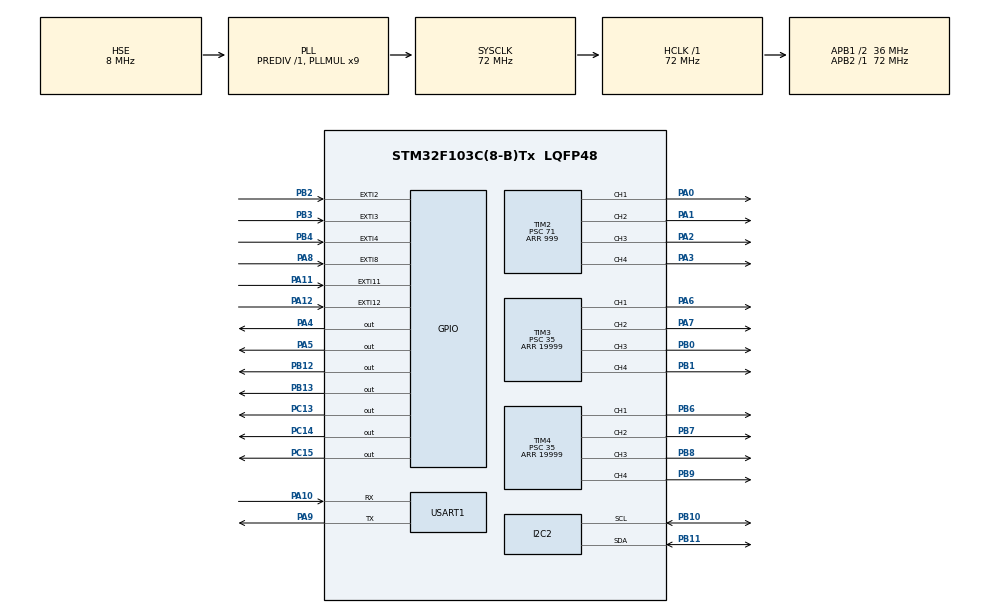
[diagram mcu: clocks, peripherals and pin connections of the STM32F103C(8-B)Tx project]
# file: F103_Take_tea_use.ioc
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Dma.Request0=USART1_TX
Dma.Request1=USART1_RX
Dma.USART1_RX.1.Direction=DMA_PERIPH_TO_MEMORY
Dma.USART1_RX.1.Instance=DMA1_Channel5
Dma.USART1_RX.1.MemDataAlignment=DMA_MDATAALIGN_BYTE
Dma.USART1_RX.1.MemInc=DMA_MINC_ENABLE
Dma.USART1_RX.1.Mode=DMA_NORMAL
Dma.USART1_RX.1.PeriphDataAlignment=DMA_PDATAALIGN_BYTE
Dma.USART1_RX.1.PeriphInc=DMA_PINC_DISABLE
Dma.USART1_RX.1.Priority=DMA_PRIORITY_LOW
Dma.USART1_TX.0.Direction=DMA_MEMORY_TO_PERIPH
Dma.USART1_TX.0.Instance=DMA1_Channel4
Dma.USART1_TX.0.MemDataAlignment=DMA_MDATAALIGN_BYTE
Dma.USART1_TX.0.MemInc=DMA_MINC_ENABLE
Dma.USART1_TX.0.Mode=DMA_NORMAL
Dma.USART1_TX.0.PeriphDataAlignment=DMA_PDATAALIGN_BYTE
Dma.USART1_TX.0.PeriphInc=DMA_PINC_DISABLE
Dma.USART1_TX.0.Priority=DMA_PRIORITY_LOW
Mcu.Family=STM32F1
Mcu.Name=STM32F103C(8-B)Tx
Mcu.Package=LQFP48
NVIC.DMA1_Channel4_IRQn=true\:5\:0\:true\:false\:true\:false\:true
NVIC.DMA1_Channel5_IRQn=true\:5\:0\:true\:false\:true\:false\:true
NVIC.EXTI15_10_IRQn=true\:0\:0\:false\:false\:true\:true\:true
NVIC.EXTI2_IRQn=true\:4\:0\:true\:false\:true\:true\:true
NVIC.EXTI3_IRQn=true\:4\:0\:true\:false\:true\:true\:true
NVIC.EXTI4_IRQn=true\:4\:0\:true\:false\:true\:true\:true
NVIC.EXTI9_5_IRQn=true\:4\:0\:true\:false\:true\:true\:true
NVIC.PriorityGroup=NVIC_PRIORITYGROUP_4
NVIC.TIM1_UP_IRQn=true\:5\:0\:true\:false\:true\:true\:true
NVIC.TIM2_IRQn=true\:4\:0\:true\:false\:true\:true\:true
NVIC.USART1_IRQn=true\:5\:0\:true\:false\:true\:true\:true
PA0-WKUP.Signal=S_TIM2_CH1_ETR
PA1.Signal=S_TIM2_CH2
PA10.Mode=Asynchronous
PA10.Signal=USART1_RX
PA11.GPIO_ModeDefaultEXTI=GPIO_MODE_IT_FALLING
PA11.GPIO_PuPd=GPIO_PULLUP
PA11.Signal=GPXTI11
PA12.GPIO_ModeDefaultEXTI=GPIO_MODE_IT_FALLING
PA12.GPIO_PuPd=GPIO_PULLUP
PA12.Signal=GPXTI12
PA13.Mode=Serial_Wire
PA13.Signal=SYS_JTMS-SWDIO
PA14.Mode=Serial_Wire
PA14.Signal=SYS_JTCK-SWCLK
PA2.Signal=S_TIM2_CH3
PA3.Signal=S_TIM2_CH4
PA4.Signal=GPIO_Output
PA5.Signal=GPIO_Output
PA6.Signal=S_TIM3_CH1
PA7.Signal=S_TIM3_CH2
PA8.GPIO_ModeDefaultEXTI=GPIO_MODE_IT_FALLING
PA8.GPIO_PuPd=GPIO_PULLUP
PA8.Signal=GPXTI8
PA9.Mode=Asynchronous
PA9.Signal=USART1_TX
PB0.Signal=S_TIM3_CH3
PB1.Signal=S_TIM3_CH4
PB10.Mode=I2C
PB10.Signal=I2C2_SCL
PB11.Mode=I2C
PB11.Signal=I2C2_SDA
PB12.Signal=GPIO_Output
PB13.Signal=GPIO_Output
PB2.GPIO_ModeDefaultEXTI=GPIO_MODE_IT_FALLING
PB2.GPIO_PuPd=GPIO_PULLUP
PB2.Signal=GPXTI2
PB3.GPIO_ModeDefaultEXTI=GPIO_MODE_IT_FALLING
PB3.GPIO_PuPd=GPIO_PULLUP
PB3.Signal=GPXTI3
PB4.GPIO_ModeDefaultEXTI=GPIO_MODE_IT_FALLING
PB4.GPIO_PuPd=GPIO_PULLUP
PB4.Signal=GPXTI4
PB6.Signal=S_TIM4_CH1
PB7.Signal=S_TIM4_CH2
PB8.Signal=S_TIM4_CH3
PB9.Signal=S_TIM4_CH4
PC13-TAMPER-RTC.Signal=GPIO_Output
PC14-OSC32_IN.Signal=GPIO_Output
PC15-OSC32_OUT.Signal=GPIO_Output
PD0-OSC_IN.Mode=HSE-External-Oscillator
PD0-OSC_IN.Signal=RCC_OSC_IN
PD1-OSC_OUT.Mode=HSE-External-Oscillator
PD1-OSC_OUT.Signal=RCC_OSC_OUT
ProjectManager.HeapSize=0x200
ProjectManager.StackSize=0x400
ProjectManager.TargetToolchain=Makefile
RCC.AHBFreq_Value=72000000
RCC.APB1CLKDivider=RCC_HCLK_DIV2
RCC.APB1Freq_Value=36000000
RCC.APB1TimFreq_Value=72000000
RCC.APB2Freq_Value=72000000
RCC.APB2TimFreq_Value=72000000
RCC.HCLKFreq_Value=72000000
RCC.PLLMUL=RCC_PLL_MUL9
RCC.PLLSourceVirtual=RCC_PLLSOURCE_HSE
RCC.SYSCLKFreq_VALUE=72000000
RCC.SYSCLKSource=RCC_SYSCLKSOURCE_PLLCLK
RCC.USBFreq_Value=72000000
SH.S_TIM2_CH1_ETR.0=TIM2_CH1,PWM Generation1 CH1
SH.S_TIM2_CH2.0=TIM2_CH2,PWM Generation2 CH2
SH.S_TIM2_CH3.0=TIM2_CH3,PWM Generation3 CH3
SH.S_TIM2_CH4.0=TIM2_CH4,PWM Generation4 CH4
SH.S_TIM3_CH1.0=TIM3_CH1,PWM Generation1 CH1
SH.S_TIM3_CH2.0=TIM3_CH2,PWM Generation2 CH2
SH.S_TIM3_CH3.0=TIM3_CH3,PWM Generation3 CH3
SH.S_TIM3_CH4.0=TIM3_CH4,PWM Generation4 CH4
SH.S_TIM4_CH1.0=TIM4_CH1,PWM Generation1 CH1
SH.S_TIM4_CH2.0=TIM4_CH2,PWM Generation2 CH2
SH.S_TIM4_CH3.0=TIM4_CH3,PWM Generation3 CH3
SH.S_TIM4_CH4.0=TIM4_CH4,PWM Generation4 CH4
TIM1.Period=999
TIM1.Prescaler=71
TIM2.Channel-PWM\ Generation1\ CH1=TIM_CHANNEL_1
TIM2.Channel-PWM\ Generation2\ CH2=TIM_CHANNEL_2
TIM2.Channel-PWM\ Generation3\ CH3=TIM_CHANNEL_3
TIM2.Channel-PWM\ Generation4\ CH4=TIM_CHANNEL_4
TIM2.Period=999
TIM2.Prescaler=71
TIM3.Channel-PWM\ Generation1\ CH1=TIM_CHANNEL_1
TIM3.Channel-PWM\ Generation2\ CH2=TIM_CHANNEL_2
TIM3.Channel-PWM\ Generation3\ CH3=TIM_CHANNEL_3
TIM3.Channel-PWM\ Generation4\ CH4=TIM_CHANNEL_4
TIM3.Period=19999
TIM3.Prescaler=35
TIM4.Channel-PWM\ Generation1\ CH1=TIM_CHANNEL_1
TIM4.Channel-PWM\ Generation2\ CH2=TIM_CHANNEL_2
TIM4.Channel-PWM\ Generation3\ CH3=TIM_CHANNEL_3
TIM4.Channel-PWM\ Generation4\ CH4=TIM_CHANNEL_4
TIM4.Period=19999
TIM4.Prescaler=35
USART1.VirtualMode=VM_ASYNC
VP_TIM1_VS_ClockSourceINT.Mode=Internal
board=custom

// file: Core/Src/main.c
/* USER CODE BEGIN Header */
/**
 ******************************************************************************
 * @file           : main.c
 * @brief          : Main program body
 ******************************************************************************
 * @attention
 *
 * <h2><center>&copy; Copyright (c) 2023 STMicroelectronics.
 * All rights reserved.</center></h2>
 *
 * This software component is licensed by ST under BSD 3-Clause license,
 * the "License"; You may not use this file except in compliance with the
 * License. You may obtain a copy of the License at:
 *                        opensource.org/licenses/BSD-3-Clause
 *
 ******************************************************************************
 */
/* USER CODE END Header */
#include "main.h"
#include "dma.h"
#include "i2c.h"
#include "tim.h"
#include "usart.h"
#include "gpio.h"

/* USER CODE BEGIN Includes */
#include <stdio.h>
#include "soft_use.h"
#include "doing.h"
#include "BJ_CTRL.h"
/* USER CODE END Includes */

/* USER CODE BEGIN PV */
extern BJ_status BJ_biubiu;
;
/* USER CODE END PV */

void SystemClock_Config(void);
/* USER CODE BEGIN PFP */
extern uint8_t usart1_date[12];
/* USER CODE END PFP */

/* USER CODE BEGIN 0 */
uint8_t do_sign = 0;
uint8_t x,y;
/* USER CODE END 0 */

int main(void)
{

  /* MCU Configuration--------------------------------------------------------*/

  /* Reset of all peripherals, Initializes the Flash interface and the Systick. */
  HAL_Init();

  /* Configure the system clock */
  SystemClock_Config();

  /* Initialize all configured peripherals */
  MX_GPIO_Init();
  MX_DMA_Init();
  MX_USART1_UART_Init();
  MX_I2C2_Init();
  MX_TIM1_Init();
  MX_TIM2_Init();
  MX_TIM3_Init();
  MX_TIM4_Init();
  /* USER CODE BEGIN 2 */
  HAL_TIM_PWM_Start_IT(&htim2, TIM_CHANNEL_1);
  HAL_TIM_PWM_Start_IT(&htim2, TIM_CHANNEL_2);
  HAL_TIM_Base_Start_IT(&htim1);
  HAL_UART_Receive_IT(&huart1, usart1_date, 1);
  HAL_TIM_PWM_Start(&htim3,TIM_CHANNEL_1);
  HAL_TIM_PWM_Start(&htim3,TIM_CHANNEL_2);
  HAL_TIM_PWM_Start(&htim3,TIM_CHANNEL_3);
  TIM3->CCR1=2400;
  TIM3->CCR2=2400;
  TIM3->CCR3=2400;
  /* USER CODE END 2 */

  /* Infinite loop */
  while (1)
  {

    /* USER CODE BEGIN 3 */
    switch (do_sign)
    {
    case 0:
      LED1(0);
      LED2(0);
      LED3(0);
      break;
    case 1:
      LED1(1);
      LED2(0);
      LED3(0);
      break;
    case 2:
      LED1(0);
      LED2(1);
      LED3(0);
      break;
    case 3:
      LED1(0);
      LED2(0);
      LED3(1);
      break;
    case 4:
      LED1(1);
      LED2(1);
      LED3(0);
      break;
    case 5:
      LED1(1);
      LED2(1);
      LED3(1);
      break;
    default:
      do_sign = 0;
      break;
    }
    if(x==1&&y==1)
    {
        TIM3->CCR1=1500;
        TIM3->CCR2=1500;
        TIM3->CCR3=1500;
        HAL_Delay(1000);
        TIM3->CCR1=2400;
        TIM3->CCR2=2400;
        TIM3->CCR3=2400;
        x=y=0;
    }
  }
  /* USER CODE END 3 */
}

void SystemClock_Config(void)
{
  RCC_OscInitTypeDef RCC_OscInitStruct = {0};
  RCC_ClkInitTypeDef RCC_ClkInitStruct = {0};

  /** Initializes the RCC Oscillators according to the specified parameters
  * in the RCC_OscInitTypeDef structure.
  */
  RCC_OscInitStruct.OscillatorType = RCC_OSCILLATORTYPE_HSE;
  RCC_OscInitStruct.HSEState = RCC_HSE_ON;
  RCC_OscInitStruct.HSEPredivValue = RCC_HSE_PREDIV_DIV1;
  RCC_OscInitStruct.HSIState = RCC_HSI_ON;
  RCC_OscInitStruct.PLL.PLLState = RCC_PLL_ON;
  RCC_OscInitStruct.PLL.PLLSource = RCC_PLLSOURCE_HSE;
  RCC_OscInitStruct.PLL.PLLMUL = RCC_PLL_MUL9;
  if (HAL_RCC_OscConfig(&RCC_OscInitStruct) != HAL_OK)
  {
    Error_Handler();
  }
  /** Initializes the CPU, AHB and APB buses clocks
  */
  RCC_ClkInitStruct.ClockType = RCC_CLOCKTYPE_HCLK|RCC_CLOCKTYPE_SYSCLK
                              |RCC_CLOCKTYPE_PCLK1|RCC_CLOCKTYPE_PCLK2;
  RCC_ClkInitStruct.SYSCLKSource = RCC_SYSCLKSOURCE_PLLCLK;
  RCC_ClkInitStruct.AHBCLKDivider = RCC_SYSCLK_DIV1;
  RCC_ClkInitStruct.APB1CLKDivider = RCC_HCLK_DIV2;
  RCC_ClkInitStruct.APB2CLKDivider = RCC_HCLK_DIV1;

  if (HAL_RCC_ClockConfig(&RCC_ClkInitStruct, FLASH_LATENCY_2) != HAL_OK)
  {
    Error_Handler();
  }
}

void Error_Handler(void)
{
  __disable_irq();
  while (1)
  {
  }
}

/************************ (C) COPYRIGHT STMicroelectronics *****END OF FILE****/
